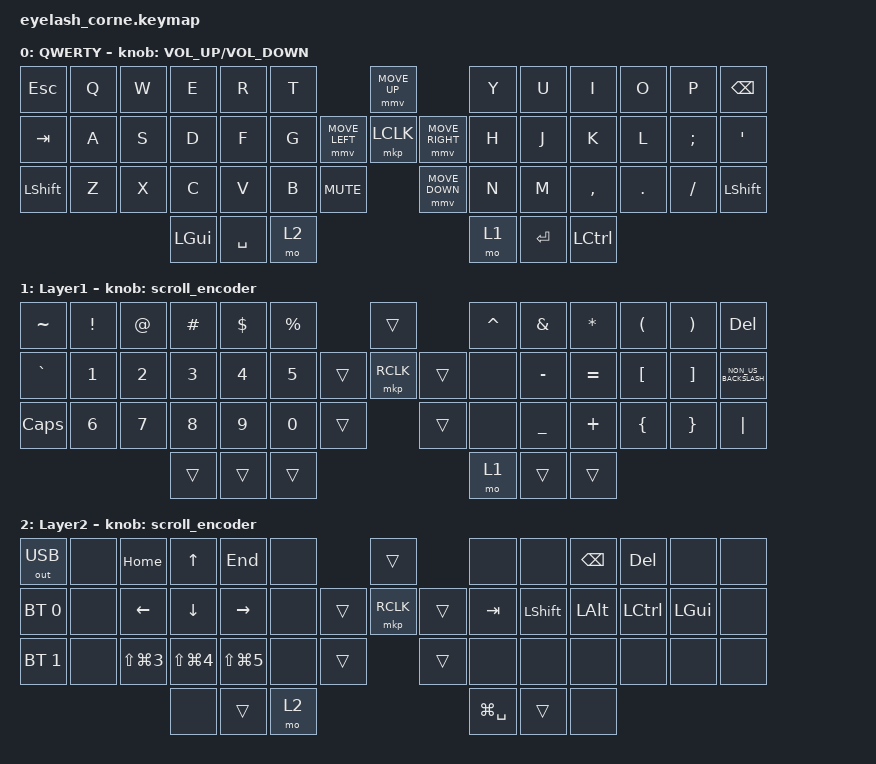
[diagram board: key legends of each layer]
#define ZMK_POINTING_DEFAULT_MOVE_VAL 1200  // 600
#define ZMK_POINTING_DEFAULT_SCRL_VAL 25   // 10

#include <input/processors.dtsi>
#include <zephyr/dt-bindings/input/input-event-codes.h>
#include <behaviors.dtsi>
#include <dt-bindings/zmk/bt.h>
#include <dt-bindings/zmk/keys.h>
#include <dt-bindings/zmk/outputs.h>
#include <dt-bindings/zmk/pointing.h>
#include <dt-bindings/zmk/rgb.h>

&mmv_input_listener { input-processors = <&zip_xy_scaler 2 1>; };

&msc_input_listener { input-processors = <&zip_scroll_scaler 2 1>; };

&msc {
    acceleration-exponent = <1>;      // 0
    time-to-max-speed-ms = <100>;       // 300
    delay-ms = <0>;                   // 0
};

&mmv {
    time-to-max-speed-ms = <500>;
    acceleration-exponent = <1>;
    trigger-period-ms = <16>;
};

&lt {
    tapping-term-ms = <250>;
    quick-tap-ms = <150>;
};

/ {
    behaviors {
        shift_control: shift_control {
            compatible = "zmk,behavior-tap-dance";
            display-name = "Shift/Caps Lock Tap Dance";
            #binding-cells = <0>;
            bindings = <&kp LEFT_SHIFT>, <&kp LEFT_SHIFT>, <&kp LEFT_CONTROL>;

            label = "SHIFT_CONTROL";
        };

        tab_capslock: tab_capslock {
            compatible = "zmk,behavior-tap-dance";
            display-name = "Shift/Caps Lock Tap Dance";
            #binding-cells = <0>;
            bindings = <&kp TAB>, <&kp TAB>, <&kp CAPSLOCK>;

            label = "TAB_CAPSLOCK";
        };

        shiftguiToggle: shiftguiToggle {
            compatible = "zmk,behavior-tap-dance";
            label = "SHIFTGUITOGGLE";
            #binding-cells = <0>;
            bindings =
                <&none>,
                <&none>,
                <&kp LS(LG(NUMBER_3))>,
                <&kp LS(LG(NUMBER_4))>,
                <&kp LS(LG(N5))>,
                <&none>;
        };

        gui_gui_shiftgui: gui_gui_shiftgui {
            compatible = "zmk,behavior-tap-dance";
            label = "GUI_GUI_SHIFTGUI";
            #binding-cells = <0>;
            bindings = <&kp LEFT_GUI>, <&kp LEFT_GUI>, <&kp LS(LEFT_GUI)>;

            tapping-term-ms = <250>;
        };

        n_bt123_out: n_bt123_out {
            compatible = "zmk,behavior-tap-dance";
            label = "N_BT123_OUT";
            #binding-cells = <0>;
            bindings =
                <&none>,
                <&bt BT_SEL 0>,
                <&bt BT_SEL 1>,
                <&bt BT_SEL 2>,
                <&out OUT_USB>;
        };

        nn_shiftcmd345: nn_shiftcmd345 {
            compatible = "zmk,behavior-tap-dance";
            label = "NN_SHIFTCMD345";
            #binding-cells = <0>;
            bindings =
                <&none>,
                <&none>,
                <&kp LS(LG(NUMBER_3))>,
                <&kp LS(LG(NUMBER_4))>,
                <&kp LS(LG(N5))>;
        };
    };

    rgb_encoder: rgb_encoder {
        compatible = "zmk,behavior-sensor-rotate";
        #sensor-binding-cells = <0>;
        bindings = <&rgb_ug RGB_BRI>, <&rgb_ug RGB_BRD>;
    };

    scroll_encoder: scroll_encoder {
        compatible = "zmk,behavior-sensor-rotate";
        #sensor-binding-cells = <0>;
        bindings = <&msc SCRL_DOWN>, <&msc SCRL_UP>;

        tap-ms = <100>;
    };

    combos {
        compatible = "zmk,combos";

        change_lang {
            bindings = <&kp LG(SPACE)>;
            key-positions = <45 42>;
            slow-release;
            require-prior-idle-ms = <600>;
            layers = <0>;
            timeout-ms = <300>;
        };
    };

    macros {
        VSC_MD: VSC_MD {
            compatible = "zmk,behavior-macro";
            #binding-cells = <0>;
            bindings = <&kp LG(K) &kp V>;
            label = "VSC_MD";
        };
    };

    keymap {
        compatible = "zmk,keymap";

        default_layer {
            display-name = "QWERTY";
            bindings = <
&kp ESCAPE  &kp Q  &kp W  &kp E     &kp R      &kp T                                &mmv MOVE_UP                     &kp Y  &kp U      &kp I             &kp O    &kp P     &kp BSPC
&kp TAB     &kp A  &kp S  &kp D     &kp F      &kp G                &mmv MOVE_LEFT  &mkp LCLK       &mmv MOVE_RIGHT  &kp H  &kp J      &kp K             &kp L    &kp SEMI  &kp SQT
&kp LSHIFT  &kp Z  &kp X  &kp C     &kp V      &kp B  &kp C_MUTE                    &mmv MOVE_DOWN                   &kp N  &kp M      &kp COMMA         &kp DOT  &kp FSLH  &kp LEFT_SHIFT
                          &kp LGUI  &kp SPACE  &mo 2                                                                 &mo 1  &kp ENTER  &kp LEFT_CONTROL
            >;

            sensor-bindings = <&inc_dec_kp C_VOLUME_UP C_VOLUME_DOWN>;
        };

        layer_1 {
            display-name = "Layer1";
            bindings = <
&kp TILDE     &kp EXCLAMATION  &kp AT_SIGN   &kp HASH      &kp DOLLAR    &kp PERCENT                    &trans             &kp CARET  &kp AMPERSAND  &kp ASTERISK  &kp LEFT_PARENTHESIS  &kp RIGHT_PARENTHESIS  &kp DELETE
&kp GRAVE     &kp NUMBER_1     &kp NUMBER_2  &kp NUMBER_3  &kp NUMBER_4  &kp N5                 &trans  &mkp RCLK  &trans  &none      &kp MINUS      &kp EQUAL     &kp LEFT_BRACKET      &kp RIGHT_BRACKET      &kp NON_US_BACKSLASH
&kp CAPSLOCK  &kp NUMBER_6     &kp N7        &kp N8        &kp N9        &kp N0       &trans            &trans             &none      &kp UNDER      &kp PLUS      &kp LEFT_BRACE        &kp RIGHT_BRACE        &kp PIPE
                                             &trans        &trans        &trans                                            &mo 1      &trans         &trans
            >;

            sensor-bindings = <&scroll_encoder>;
        };

        layer_2 {
            display-name = "Layer2";
            bindings = <
&out OUT_USB  &none  &kp HOME              &kp UP_ARROW          &kp END         &none                    &trans             &none          &none           &kp BACKSPACE  &kp DELETE        &none         &none
&bt BT_SEL 0  &none  &kp LEFT              &kp DOWN              &kp RIGHT       &none            &trans  &mkp RCLK  &trans  &kp TAB        &kp LEFT_SHIFT  &kp LEFT_ALT   &kp LEFT_CONTROL  &kp LEFT_GUI  &none
&bt BT_SEL 1  &none  &kp LS(LG(NUMBER_3))  &kp LS(LG(NUMBER_4))  &kp LS(LG(N5))  &none  &trans            &trans             &none          &none           &none          &none             &none         &none
                                           &none                 &trans          &mo 2                                       &kp LG(SPACE)  &trans          &none
            >;

            sensor-bindings = <&scroll_encoder>;
        };
    };
};
